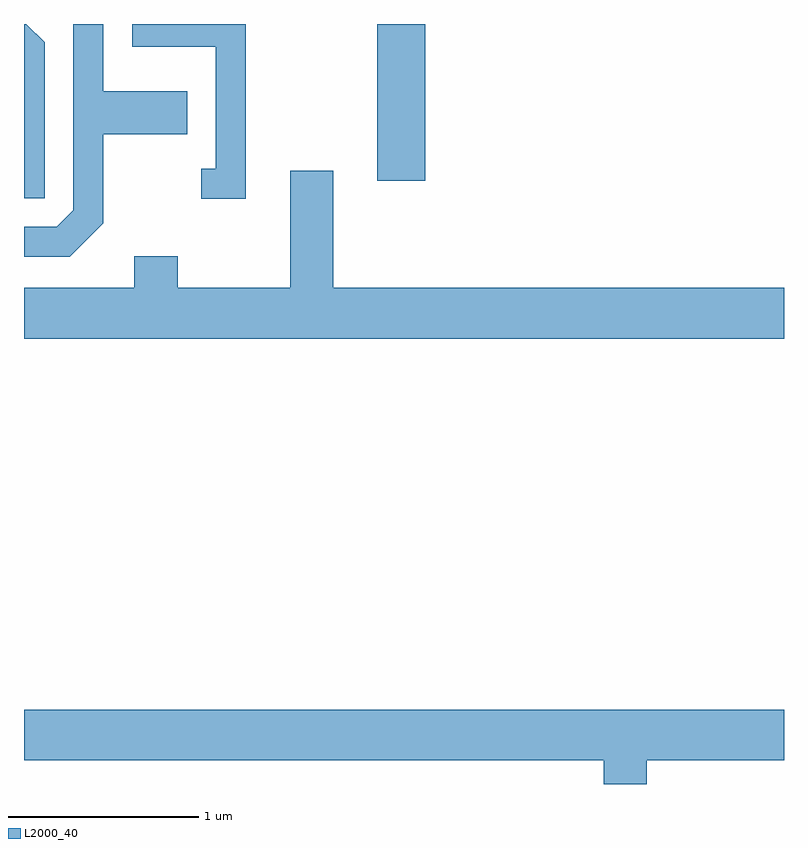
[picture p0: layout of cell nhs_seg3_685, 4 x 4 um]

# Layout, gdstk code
import gdstk
lib = gdstk.Library(unit=1e-6, precision=1e-09)
def R(c, l, rs):  # rectangles x0, y0, x1, y1
    for r in rs: c.add(gdstk.rectangle(r[:2], r[2:], *l))
def P(c, l, *ps):  # polygons
    for p in ps: c.add(gdstk.Polygon(p, *l))
L2000_40 = (2000, 40)

nhs_seg3_685 = lib.new_cell('nhs_seg3_685')
R(nhs_seg3_685, L2000_40, [(207.471,1129.066,207.724,1129.892)])
P(nhs_seg3_685, L2000_40, [(206.029,1128.844),(206.029,1129.311),(206.469,1129.311),(206.469,1129.539),(206.029,1129.539),(206.029,1129.892),(205.871,1129.892),(205.871,1128.912),(205.784,1128.824),(205.611,1128.824),(205.611,1128.666),(205.852,1128.666)],
  [(206.779,1129.892),(206.181,1129.892),(206.181,1129.771),(206.621,1129.771),(206.621,1129.129),(206.543,1129.129),(206.543,1128.971),(206.779,1128.971)],
  [(205.719,1129.797),(205.624,1129.892),(205.611,1129.892),(205.611,1128.976),(205.719,1128.976)],
  [(209.611,1128.504),(207.239,1128.504),(207.239,1129.119),(207.011,1129.119),(207.011,1128.504),(206.419,1128.504),(206.419,1128.669),(206.191,1128.669),(206.191,1128.504),(205.611,1128.504),(205.611,1128.236),(209.611,1128.236)],
  [(208.889,1126.016),(209.611,1126.016),(209.611,1126.284),(205.611,1126.284),(205.611,1126.016),(208.661,1126.016),(208.661,1125.892),(208.889,1125.892)])

lib.write_gds('nhs_seg3_685.gds')
